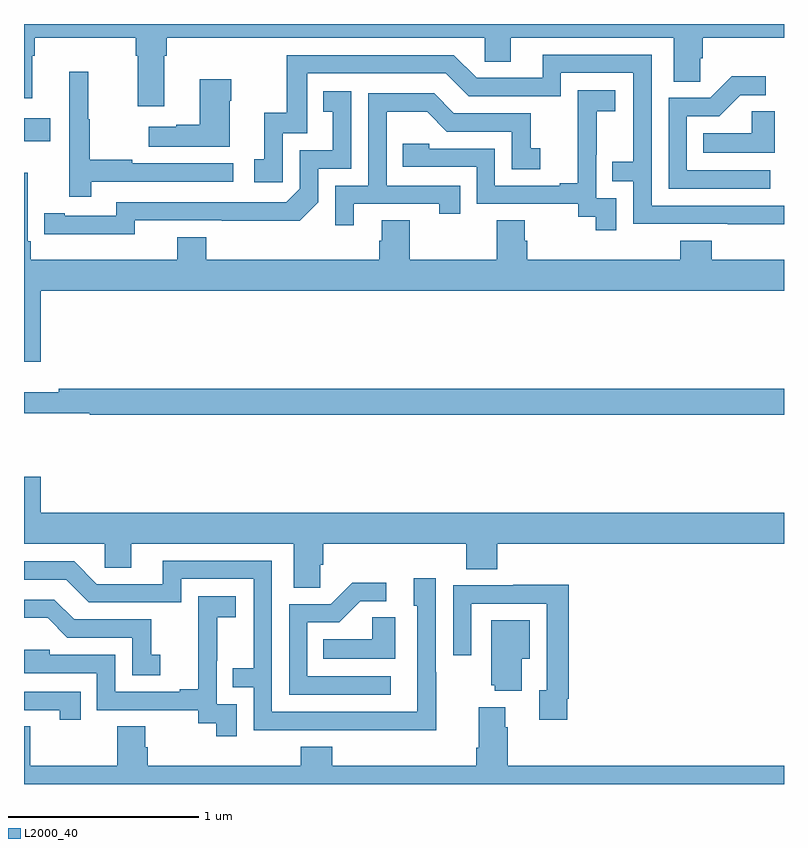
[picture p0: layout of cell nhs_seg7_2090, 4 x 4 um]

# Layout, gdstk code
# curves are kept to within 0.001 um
import gdstk
lib = gdstk.Library(unit=1e-6, precision=1e-09)
def R(c, l, rs):  # rectangles x0, y0, x1, y1
    for r in rs: c.add(gdstk.rectangle(r[:2], r[2:], *l))
def P(c, l, *ps):  # polygons
    for p in ps: c.add(gdstk.Polygon(p, *l))
L2000_40 = (2000, 40)

nhs_seg7_2090 = lib.new_cell('nhs_seg7_2090')
R(nhs_seg7_2090, L2000_40, [(249,1021.382,249.139,1021.504)])
P(nhs_seg7_2090, L2000_40, [(249.739,1021.832),(249.752,1021.832),(249.752,1021.928),(251.424,1021.928),(251.424,1021.801),(251.563,1021.801),(251.563,1021.928),(252.419,1021.928),(252.419,1021.696),(252.558,1021.696),(252.558,1021.819),(252.572,1021.819),(252.572,1021.928),(253,1021.928),(253,1022),(249,1022),(249,1021.608),(249.043,1021.608),(249.043,1021.832),(249.056,1021.832),(249.056,1021.928),(249.587,1021.928),(249.587,1021.832),(249.599,1021.832),(249.599,1021.566),(249.739,1021.566)],
  [(253,1021.044),(252.303,1021.044),(252.303,1021.839),(251.729,1021.839),(251.729,1021.716),(251.382,1021.716),(251.262,1021.836),(250.383,1021.836),(250.383,1021.534),(250.265,1021.534),(250.265,1021.287),(250.212,1021.287),(250.212,1021.167),(250.362,1021.167),(250.362,1021.425),(250.491,1021.425),(250.491,1021.74),(251.22,1021.74),(251.34,1021.62),(251.826,1021.62),(251.826,1021.743),(252.207,1021.743),(252.207,1021.274),(252.097,1021.274),(252.097,1021.173),(252.207,1021.173),(252.207,1020.948),(253,1020.947)],
  [(249.353,1021.17),(250.102,1021.17),(250.102,1021.266),(249.569,1021.266),(249.569,1021.286),(249.346,1021.286),(249.346,1021.5),(249.338,1021.5),(249.338,1021.75),(249.237,1021.75),(249.237,1021.092),(249.353,1021.092)],
  [(252.928,1021.23),(252.489,1021.23),(252.489,1021.515),(252.658,1021.515),(252.769,1021.626),(252.904,1021.626),(252.904,1021.724),(252.725,1021.724),(252.612,1021.611),(252.393,1021.611),(252.393,1021.134),(252.928,1021.134)],
  [(250.084,1021.595),(250.092,1021.595),(250.092,1021.708),(249.926,1021.708),(249.926,1021.469),(249.8,1021.469),(249.8,1021.459),(249.657,1021.459),(249.657,1021.355),(250.084,1021.355)],
  [(252.117,1021.083),(252.012,1021.083),(252.012,1021.313),(252.014,1021.313),(252.014,1021.541),(252.112,1021.541),(252.112,1021.651),(251.914,1021.651),(251.914,1021.445),(251.915,1021.445),(251.915,1021.162),(251.819,1021.162),(251.819,1021.149),(251.478,1021.149),(251.478,1021.344),(251.133,1021.344),(251.133,1021.371),(250.993,1021.371),(250.993,1021.248),(251.382,1021.248),(251.382,1021.053),(251.916,1021.053),(251.916,1020.985),(252.009,1020.985),(252.009,1020.915),(252.117,1020.915)],
  [(249.582,1020.966),(250.45,1020.965),(250.548,1021.062),(250.548,1021.239),(250.722,1021.239),(250.722,1021.645),(250.576,1021.645),(250.576,1021.539),(250.625,1021.539),(250.625,1021.335),(250.452,1021.335),(250.452,1021.134),(250.38,1021.062),(249.486,1021.062),(249.486,1020.99),(249.214,1020.99),(249.214,1021.003),(249.106,1021.003),(249.106,1020.894),(249.582,1020.893)],
  [(250.735,1021.053),(251.186,1021.053),(251.186,1021.002),(251.297,1021.002),(251.297,1021.149),(250.908,1021.149),(250.908,1021.538),(251.122,1021.538),(251.226,1021.434),(251.568,1021.434),(251.568,1021.236),(251.716,1021.236),(251.716,1021.345),(251.667,1021.345),(251.667,1021.53),(251.263,1021.53),(251.158,1021.635),(250.812,1021.635),(250.812,1021.149),(250.638,1021.149),(250.638,1020.942),(250.735,1020.942)],
  [(252.952,1021.541),(252.831,1021.541),(252.831,1021.426),(252.574,1021.426),(252.574,1021.322),(252.952,1021.322)],
  [(249.088,1020.596),(253,1020.596),(253,1020.76),(252.62,1020.76),(252.62,1020.859),(252.455,1020.859),(252.455,1020.76),(251.648,1020.76),(251.648,1020.858),(251.635,1020.858),(251.635,1020.968),(251.488,1020.968),(251.488,1020.76),(251.031,1020.76),(251.031,1020.968),(250.883,1020.968),(250.883,1020.858),(250.871,1020.858),(250.871,1020.76),(249.959,1020.76),(249.959,1020.877),(249.806,1020.877),(249.806,1020.76),(249.035,1020.76),(249.035,1020.856),(249.021,1020.856),(249.021,1021.216),(249,1021.216),(249,1020.222),(249.088,1020.222)],
  [(253,1020.08),(249.184,1020.08),(249.184,1020.061),(249,1020.061),(249,1019.952),(249.345,1019.952),(249.345,1019.944),(253,1019.944)],
  [(250.56,1019.155),(250.574,1019.155),(250.574,1019.264),(251.327,1019.264),(251.327,1019.131),(251.492,1019.131),(251.492,1019.264),(253,1019.264),(253,1019.428),(249.088,1019.428),(249.088,1019.617),(249,1019.617),(249,1019.264),(249.426,1019.264),(249.426,1019.137),(249.565,1019.137),(249.565,1019.264),(250.421,1019.264),(250.421,1019.032),(250.56,1019.032)],
  [(251.169,1018.589),(251.166,1018.589),(251.166,1019.083),(251.051,1019.083),(251.051,1018.938),(251.07,1018.938),(251.07,1018.38),(250.305,1018.38),(250.305,1019.175),(249.731,1019.175),(249.731,1019.052),(249.384,1019.052),(249.264,1019.172),(249,1019.172),(249,1019.076),(249.222,1019.076),(249.342,1018.956),(249.828,1018.956),(249.828,1019.079),(250.209,1019.079),(250.209,1018.61),(250.099,1018.61),(250.099,1018.509),(250.209,1018.509),(250.209,1018.284),(251.169,1018.283)],
  [(250.93,1018.566),(250.491,1018.566),(250.491,1018.851),(250.66,1018.851),(250.771,1018.962),(250.906,1018.962),(250.906,1019.06),(250.727,1019.06),(250.614,1018.947),(250.395,1018.947),(250.395,1018.47),(250.93,1018.47)],
  [(251.86,1018.45),(251.867,1018.45),(251.867,1019.048),(251.575,1019.048),(251.575,1019.046),(251.259,1019.046),(251.259,1018.677),(251.355,1018.677),(251.355,1018.95),(251.751,1018.95),(251.751,1018.494),(251.711,1018.494),(251.711,1018.338),(251.86,1018.338)],
  [(250.119,1018.419),(250.014,1018.419),(250.014,1018.649),(250.016,1018.649),(250.016,1018.877),(250.114,1018.877),(250.114,1018.987),(249.916,1018.987),(249.916,1018.781),(249.917,1018.781),(249.917,1018.498),(249.821,1018.498),(249.821,1018.485),(249.48,1018.485),(249.48,1018.68),(249.135,1018.68),(249.135,1018.707),(249,1018.707),(249,1018.584),(249.384,1018.584),(249.384,1018.389),(249.918,1018.389),(249.918,1018.321),(250.011,1018.321),(250.011,1018.251),(250.119,1018.251)],
  [(249.718,1018.681),(249.669,1018.681),(249.669,1018.866),(249.265,1018.866),(249.16,1018.971),(249,1018.971),(249,1018.874),(249.124,1018.874),(249.228,1018.77),(249.57,1018.77),(249.57,1018.572),(249.718,1018.572)],
  [(250.954,1018.877),(250.833,1018.877),(250.833,1018.762),(250.576,1018.762),(250.576,1018.658),(250.954,1018.658)],
  [(251.62,1018.658),(251.662,1018.658),(251.662,1018.861),(251.459,1018.861),(251.459,1018.521),(251.477,1018.521),(251.477,1018.49),(251.62,1018.49)],
  [(249.299,1018.485),(249,1018.485),(249,1018.389),(249.188,1018.389),(249.188,1018.338),(249.299,1018.338)],
  [(253,1018.096),(251.546,1018.096),(251.546,1018.298),(251.533,1018.298),(251.533,1018.405),(251.393,1018.405),(251.393,1018.192),(251.381,1018.192),(251.381,1018.096),(250.622,1018.096),(250.622,1018.195),(250.457,1018.195),(250.457,1018.096),(249.65,1018.096),(249.65,1018.194),(249.637,1018.194),(249.637,1018.304),(249.49,1018.304),(249.49,1018.096),(249.033,1018.096),(249.033,1018.304),(249,1018.304),(249,1018),(253,1018)])

lib.write_gds('nhs_seg7_2090.gds')
